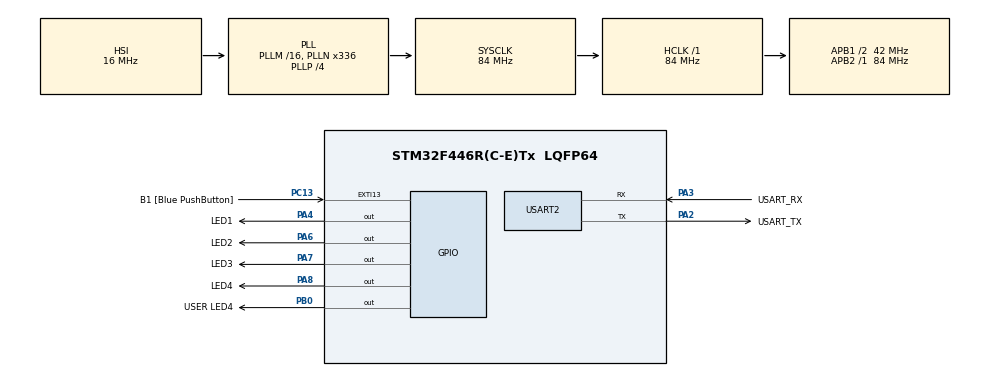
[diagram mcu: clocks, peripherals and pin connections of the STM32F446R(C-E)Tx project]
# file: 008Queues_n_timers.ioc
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Mcu.Family=STM32F4
Mcu.Name=STM32F446R(C-E)Tx
Mcu.Package=LQFP64
NVIC.PriorityGroup=NVIC_PRIORITYGROUP_4
NVIC.TIM1_UP_TIM10_IRQn=true\:15\:0\:false\:false\:true\:false\:true\:true
NVIC.TimeBase=TIM1_UP_TIM10_IRQn
NVIC.TimeBaseIP=TIM1
NVIC.USART2_IRQn=true\:6\:0\:true\:false\:true\:true\:true\:true
PA13.GPIO_Label=TMS
PA13.Mode=Serial_Wire
PA13.Signal=SYS_JTMS-SWDIO
PA14.GPIO_Label=TCK
PA14.Mode=Serial_Wire
PA14.Signal=SYS_JTCK-SWCLK
PA2.GPIO_Label=USART_TX
PA2.Mode=Asynchronous
PA2.Signal=USART2_TX
PA3.GPIO_Label=USART_RX
PA3.Mode=Asynchronous
PA3.Signal=USART2_RX
PA4.GPIO_Label=LED1
PA4.Signal=GPIO_Output
PA6.GPIO_Label=LED2
PA6.Signal=GPIO_Output
PA7.GPIO_Label=LED3
PA7.Signal=GPIO_Output
PA8.GPIO_Label=LED4
PA8.Signal=GPIO_Output
PB0.GPIO_Label=USER LED4
PB0.Signal=GPIO_Output
PB3.GPIO_Label=SWO
PB3.Signal=SYS_JTDO-SWO
PC13.GPIO_Label=B1 [Blue PushButton]
PC13.GPIO_ModeDefaultEXTI=GPIO_MODE_IT_FALLING
PC13.Signal=GPXTI13
PC14-OSC32_IN.Signal=RCC_OSC32_IN
PC15-OSC32_OUT.Signal=RCC_OSC32_OUT
PH0-OSC_IN.Signal=RCC_OSC_IN
PH1-OSC_OUT.Signal=RCC_OSC_OUT
ProjectManager.HeapSize=0x200
ProjectManager.StackSize=0x400
ProjectManager.TargetToolchain=STM32CubeIDE
RCC.AHBFreq_Value=84000000
RCC.APB1CLKDivider=RCC_HCLK_DIV2
RCC.APB1Freq_Value=42000000
RCC.APB1TimFreq_Value=84000000
RCC.APB2Freq_Value=84000000
RCC.APB2TimFreq_Value=84000000
RCC.CortexFreq_Value=84000000
RCC.FLatency-AdvancedSettings=FLASH_LATENCY_2
RCC.HCLKFreq_Value=84000000
RCC.HSE_VALUE=8000000
RCC.HSI_VALUE=16000000
RCC.LSE_VALUE=32768
RCC.PLLN=336
RCC.PLLP=RCC_PLLP_DIV4
RCC.SYSCLKFreq_VALUE=84000000
RCC.SYSCLKSource=RCC_SYSCLKSOURCE_PLLCLK
RCC.USBFreq_Value=168000000
RCC.VCOOutputFreq_Value=336000000
RTC.HourFormat=RTC_HOURFORMAT_12
USART2.VirtualMode=VM_ASYNC
VP_RTC_VS_RTC_Activate.Mode=RTC_Enabled
VP_SYS_VS_tim1.Mode=TIM1
board=NUCLEO-F446RE

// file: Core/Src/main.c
/* USER CODE BEGIN Header */
/**
  ******************************************************************************
  * @file           : main.c
  * @brief          : Main program body
  ******************************************************************************
  * @attention
  *
  * Copyright (c) 2026 STMicroelectronics.
  * All rights reserved.
  *
  * This software is licensed under terms that can be found in the LICENSE file
  * in the root directory of this software component.
  * If no LICENSE file comes with this software, it is provided AS-IS.
  *
  ******************************************************************************
  */
/* USER CODE END Header */
#include "main.h"

RTC_HandleTypeDef hrtc;

UART_HandleTypeDef huart2;

/* USER CODE BEGIN PV */
xTaskHandle handle_cmd_task;
xTaskHandle handle_menu_task;
xTaskHandle handle_print_task;
xTaskHandle handle_led_task;
xTaskHandle handle_rtc_task;

QueueHandle_t q_data;
QueueHandle_t q_print;

//software timer handles
TimerHandle_t  handle_led_timer[4];
TimerHandle_t rtc_timer;

volatile uint8_t user_data;
//state variable
state_t curr_state = sMainMenu;

/* USER CODE END PV */

void SystemClock_Config(void);
static void MX_GPIO_Init(void);
static void MX_RTC_Init(void);
static void MX_USART2_UART_Init(void);
/* USER CODE BEGIN PFP */
void led_effect_callback(TimerHandle_t xTimer);
void rtc_report_callback(TimerHandle_t xTimer);

/* USER CODE END PFP */

int main(void)
{

  /* USER CODE BEGIN 1 */
	BaseType_t status;
  /* USER CODE END 1 */

  /* MCU Configuration--------------------------------------------------------*/

  /* Reset of all peripherals, Initializes the Flash interface and the Systick. */
  HAL_Init();

  /* Configure the system clock */
  SystemClock_Config();

  /* Initialize all configured peripherals */
  MX_GPIO_Init();
  MX_RTC_Init();
  MX_USART2_UART_Init();
  /* USER CODE BEGIN 2 */

	status = xTaskCreate(menu_task, "menu_task", 250, NULL, 2, &handle_menu_task);

	configASSERT(status == pdPASS);

	status = xTaskCreate(cmd_handler_task, "cmd_task", 250, NULL, 2, &handle_cmd_task);

	configASSERT(status == pdPASS);

	status = xTaskCreate(print_task, "print_task", 250, NULL, 2, &handle_print_task);

	configASSERT(status == pdPASS);

	status = xTaskCreate(led_task, "led_task", 250, NULL, 2, &handle_led_task);

	configASSERT(status == pdPASS);

	status = xTaskCreate(rtc_task, "rtc_task", 250, NULL, 2, &handle_rtc_task);

	configASSERT(status == pdPASS);

	q_data = xQueueCreate(10,sizeof(char));
	configASSERT(q_data != NULL);

	q_print = xQueueCreate(10,sizeof(size_t));
	configASSERT(q_print != NULL);

	//Create software timers for LED effects
		for(int i = 0 ; i < 4 ; i++)
			handle_led_timer[i] = xTimerCreate("led_timer",pdMS_TO_TICKS(500),pdTRUE, (void*)(i+1),led_effect_callback);

		rtc_timer = xTimerCreate("rtc_report_timer", pdMS_TO_TICKS(1000), pdTRUE, NULL, rtc_report_callback);

	HAL_UART_Receive_IT(&huart2, (uint8_t*)&user_data, 1);
	vTaskStartScheduler();

  /* USER CODE END 2 */

  /* Infinite loop */
  while (1)
  {

  }
}

void SystemClock_Config(void)
{
  RCC_OscInitTypeDef RCC_OscInitStruct = {0};
  RCC_ClkInitTypeDef RCC_ClkInitStruct = {0};

  /** Configure the main internal regulator output voltage
  */
  __HAL_RCC_PWR_CLK_ENABLE();
  __HAL_PWR_VOLTAGESCALING_CONFIG(PWR_REGULATOR_VOLTAGE_SCALE3);

  /** Initializes the RCC Oscillators according to the specified parameters
  * in the RCC_OscInitTypeDef structure.
  */
  RCC_OscInitStruct.OscillatorType = RCC_OSCILLATORTYPE_HSI|RCC_OSCILLATORTYPE_LSI;
  RCC_OscInitStruct.LSEState = RCC_LSE_OFF;
  RCC_OscInitStruct.HSIState = RCC_HSI_ON;
  RCC_OscInitStruct.HSICalibrationValue = RCC_HSICALIBRATION_DEFAULT;
  RCC_OscInitStruct.LSIState = RCC_LSI_ON;
  RCC_OscInitStruct.PLL.PLLState = RCC_PLL_ON;
  RCC_OscInitStruct.PLL.PLLSource = RCC_PLLSOURCE_HSI;
  RCC_OscInitStruct.PLL.PLLM = 16;
  RCC_OscInitStruct.PLL.PLLN = 336;
  RCC_OscInitStruct.PLL.PLLP = RCC_PLLP_DIV4;
  RCC_OscInitStruct.PLL.PLLQ = 2;
  RCC_OscInitStruct.PLL.PLLR = 2;
  if (HAL_RCC_OscConfig(&RCC_OscInitStruct) != HAL_OK)
  {
    Error_Handler();
  }

  /** Initializes the CPU, AHB and APB buses clocks
  */
  RCC_ClkInitStruct.ClockType = RCC_CLOCKTYPE_HCLK|RCC_CLOCKTYPE_SYSCLK
                              |RCC_CLOCKTYPE_PCLK1|RCC_CLOCKTYPE_PCLK2;
  RCC_ClkInitStruct.SYSCLKSource = RCC_SYSCLKSOURCE_PLLCLK;
  RCC_ClkInitStruct.AHBCLKDivider = RCC_SYSCLK_DIV1;
  RCC_ClkInitStruct.APB1CLKDivider = RCC_HCLK_DIV2;
  RCC_ClkInitStruct.APB2CLKDivider = RCC_HCLK_DIV1;

  if (HAL_RCC_ClockConfig(&RCC_ClkInitStruct, FLASH_LATENCY_2) != HAL_OK)
  {
    Error_Handler();
  }
}

static void MX_RTC_Init(void)
{

  /** Initialize RTC Only
  */
  hrtc.Instance = RTC;
  hrtc.Init.HourFormat = RTC_HOURFORMAT_12;
  hrtc.Init.AsynchPrediv = 127;
  hrtc.Init.SynchPrediv = 255;
  hrtc.Init.OutPut = RTC_OUTPUT_DISABLE;
  hrtc.Init.OutPutPolarity = RTC_OUTPUT_POLARITY_HIGH;
  hrtc.Init.OutPutType = RTC_OUTPUT_TYPE_OPENDRAIN;
  if (HAL_RTC_Init(&hrtc) != HAL_OK)
  {
    Error_Handler();
  }

}

static void MX_USART2_UART_Init(void)
{

  huart2.Instance = USART2;
  huart2.Init.BaudRate = 115200;
  huart2.Init.WordLength = UART_WORDLENGTH_8B;
  huart2.Init.StopBits = UART_STOPBITS_1;
  huart2.Init.Parity = UART_PARITY_NONE;
  huart2.Init.Mode = UART_MODE_TX_RX;
  huart2.Init.HwFlowCtl = UART_HWCONTROL_NONE;
  huart2.Init.OverSampling = UART_OVERSAMPLING_16;
  if (HAL_UART_Init(&huart2) != HAL_OK)
  {
    Error_Handler();
  }

}

static void MX_GPIO_Init(void)
{
  GPIO_InitTypeDef GPIO_InitStruct = {0};

  /* GPIO Ports Clock Enable */
  __HAL_RCC_GPIOC_CLK_ENABLE();
  __HAL_RCC_GPIOH_CLK_ENABLE();
  __HAL_RCC_GPIOA_CLK_ENABLE();
  __HAL_RCC_GPIOB_CLK_ENABLE();

  /*Configure GPIO pin Output Level */
  HAL_GPIO_WritePin(GPIOA, LED1_Pin|LED2_Pin|LED3_Pin|LED4_Pin, GPIO_PIN_RESET);

  /*Configure GPIO pin : B1_Pin */
  GPIO_InitStruct.Pin = B1_Pin;
  GPIO_InitStruct.Mode = GPIO_MODE_IT_FALLING;
  GPIO_InitStruct.Pull = GPIO_NOPULL;
  HAL_GPIO_Init(B1_GPIO_Port, &GPIO_InitStruct);

  /*Configure GPIO pins : LED1_Pin LED2_Pin LED3_Pin LED4_Pin */
  GPIO_InitStruct.Pin = LED1_Pin|LED2_Pin|LED3_Pin|LED4_Pin;
  GPIO_InitStruct.Mode = GPIO_MODE_OUTPUT_PP;
  GPIO_InitStruct.Pull = GPIO_NOPULL;
  GPIO_InitStruct.Speed = GPIO_SPEED_FREQ_LOW;
  HAL_GPIO_Init(GPIOA, &GPIO_InitStruct);

  /*Configure GPIO pin : USER_LED4_Pin */
  GPIO_InitStruct.Pin = USER_LED4_Pin;
  GPIO_InitStruct.Mode = GPIO_MODE_OUTPUT_PP;
  GPIO_InitStruct.Pull = GPIO_NOPULL;
  GPIO_InitStruct.Speed = GPIO_SPEED_FREQ_LOW;
  HAL_GPIO_Init(USER_LED4_GPIO_Port, &GPIO_InitStruct);

}

/* USER CODE BEGIN 4 */
void led_effect_callback(TimerHandle_t xTimer)
{
	 int id;
	 id = ( uint32_t ) pvTimerGetTimerID( xTimer );

	 switch(id)
	 {
	 case 1 :
		 LED_effect1();
		 break;
	 case 2:
		 LED_effect2();
		 break;
	 case 3:
		 LED_effect3();
		 break;
	 case 4:
		 LED_effect4();
	 }
}

void rtc_report_callback(TimerHandle_t xTimer){
	show_time_date_itm();
}

/*note-this fun is called from UART INTERRUPT HANDLER, hence it is executes in interrupt context
 * - so make sure to use isr flavour FreeRTOS API*/
void HAL_UART_RxCpltCallback(UART_HandleTypeDef *huart)
{
uint8_t dummy;
//for(int i = 0; i < 4000; i++);

	if( ! xQueueIsQueueFullFromISR(q_data) )
	{
		/*Queue is not full */

		/* Enqueue data byte */
		xQueueSendFromISR(q_data,(void *)&user_data,NULL);

	}else{
		/*Queue is full */

		if(user_data == '\n')
		{
			/*: make sure that last data byte of the queue is '\n' */
			xQueueReceiveFromISR(q_data,&dummy, NULL);//delete the last add item in the queue to make space for /n termination
			xQueueSendFromISR(q_data,(void *)&user_data,NULL);

		}
	}

	/*: send notification to command handling task if user_data = '\n' */
	if(user_data == '\n'){
		/*send notification to command handling task */
		xTaskNotifyFromISR(handle_cmd_task,0,eNoAction,NULL);
	}

	/* : Enable UART data byte reception again in IT mode */
	HAL_UART_Receive_IT(&huart2, (uint8_t*)&user_data, 1);

}
/* USER CODE END 4 */

void HAL_TIM_PeriodElapsedCallback(TIM_HandleTypeDef *htim)
{
  if (htim->Instance == TIM1)
  {
    HAL_IncTick();
  }
}

void Error_Handler(void)
{
  __disable_irq();
  while (1)
  {
  }
}
